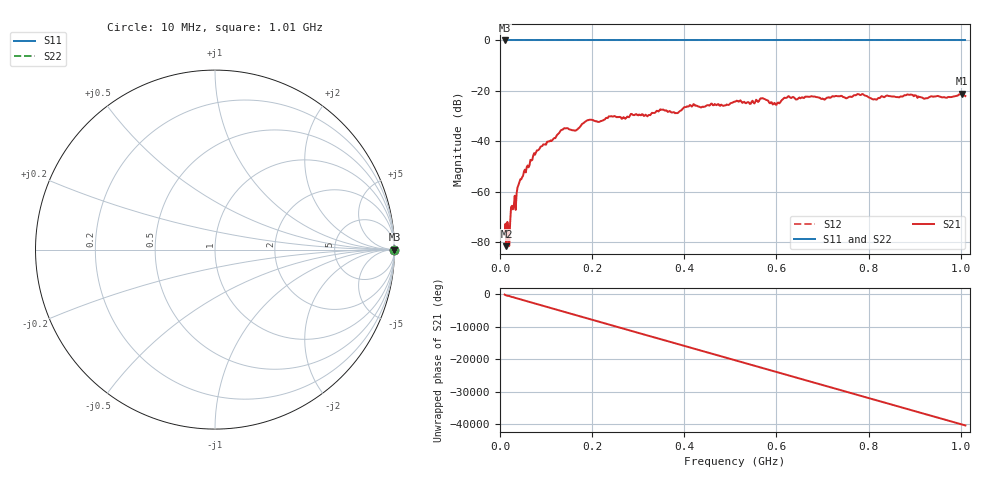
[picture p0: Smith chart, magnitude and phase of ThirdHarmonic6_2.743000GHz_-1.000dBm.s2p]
! 8/17/2025 6:49:10 AM
! C:\ANRITSUVNA\TEMP\TEMP.S2P
! CHANNEL.1
! TR.MEASUREMENT
! RAW.DATA
! RF.CORRECTION.OFF
! AVERAGING.OFF
! IF.BANDWIDTH: 5KHZ
! SWEEPTYPE:  FREQ.SWEEP(Linear)
! Reference Plane Port Info
! PORT:  PORT1  PORT2
! DISTANCE:  0  m  0  m
! TIME:  0  s  0  s
! PHASE.OFFSET:  0  deg.  0  deg.
! LOSS:  0  dB  0  dB
! REF.LOSS:  0  dB  0  dB
! REF.FREQ:  0  Hz  0  Hz
! Power Info
! POWER:  -20  dBm  -20  dBm
! EFF.POWER:  -20  dBm  -20  dBm
! SOURCE.ATTEN:  0  dB  0  dB
! TEST.ATTEN:  0  dB  0  dB
# GHZ S RI R 50.0
! FREQ.GHZ  S11RE  S11IM  S21RE  S21IM  S12RE  S12IM  S22RE  S22IM
!; PortSelection: Port_12
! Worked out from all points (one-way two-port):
!   501 points, 10 MHz to 1.01 GHz, reference 50 ohm
!   highest |S21| = -21.10 dB at 1.002 GHz (marker M1); lowest = -81.5 dB at 14 MHz (marker M2)
!   lowest |S11| = 0.0 dB at 10 MHz (marker M3)
!   |S11| at or under -10 dB: nowhere
!   |S22| runs from 0.0 to 0.0 dB; largest |S21 - S12| = 1.1
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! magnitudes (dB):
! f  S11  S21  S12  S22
! 10 MHz  0.0  -77.1  0.0  0.0
! 14 MHz  0.0  -81.5  0.0  0.0
! 18 MHz  0.0  -74.5  0.0  0.0
! 28 MHz  0.0  -66.9  0.0  0.0
! 32 MHz  0.0  -61.5  0.0  0.0
! 42 MHz  0.0  -56.1  0.0  0.0
! 76 MHz  0.0  -45.3  0.0  0.0
! 136 MHz  0.0  -35.3  0.0  0.0
! 164 MHz  0.0  -35.7  0.0  0.0
! 178 MHz  0.0  -33.1  0.0  0.0
! 344 MHz  0.0  -28.1  0.0  0.0
! 384 MHz  0.0  -28.8  0.0  0.0
! 416 MHz  0.0  -26.2  0.0  0.0
! 510 MHz  0.0  -24.2  0.0  0.0
! 570 MHz  0.0  -22.9  0.0  0.0
! 596 MHz  0.0  -24.7  0.0  0.0
! 624 MHz  0.0  -22.4  0.0  0.0
! 678 MHz  0.0  -22.2  0.0  0.0
! 814 MHz  0.0  -23.2  0.0  0.0
! 844 MHz  0.0  -22.0  0.0  0.0
! 1.002 GHz  0.0  -21.1  0.0  0.0
! 1.01 GHz  0.0  -22.0  0.0  0.0
